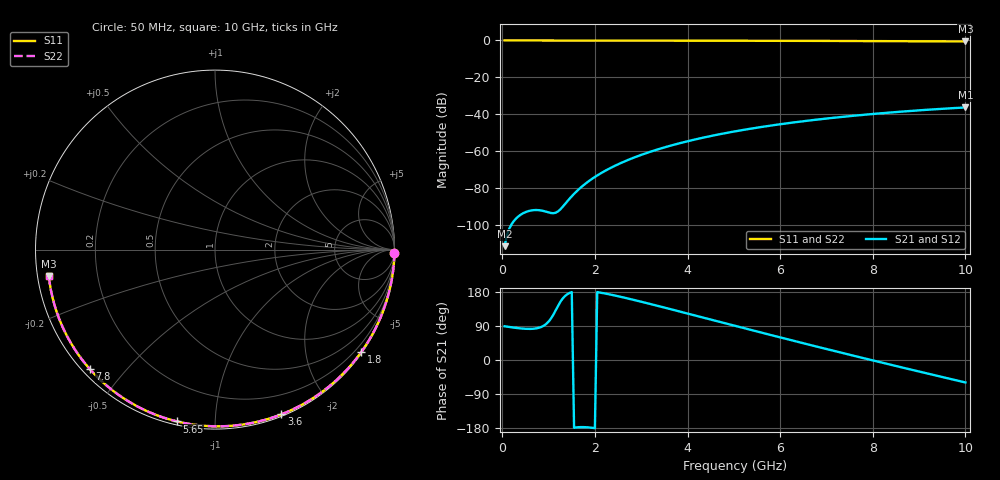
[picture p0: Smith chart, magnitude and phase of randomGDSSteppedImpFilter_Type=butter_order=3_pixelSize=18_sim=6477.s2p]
! freq	dB(S11)	phase(S11)	dB(S12)	phase(S12)
!  dB(S21)	phase(S21)	dB(S22)	phase(S22)
!S-par simulation data
#  GHz  S  DB  R 50
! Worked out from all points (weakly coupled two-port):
!   200 points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, 50 MHz to 10 GHz, reference 50 ohm
!   highest |S21| = -36.21 dB at 10 GHz (marker M1); lowest = -111.2 dB at 50 MHz (marker M2)
!   lowest |S11| = -0.6 dB at 10 GHz (marker M3), VSWR 31.02, Z = 1.62 - j3.97 ohm
!   |S11| at or under -10 dB: nowhere
!   |S22| runs from -0.6 to 0.0 dB; largest |S21 - S12| = 0
!   S11 on the Smith chart (normalised r, x): 50 MHz: open; 1.8 GHz: 0.03, -3.17; 3.6 GHz: 0.02, -1.48; 5.65 GHz: 0.02, -0.80; 7.8 GHz: 0.02, -0.40; 10 GHz: 0.03, -0.08
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0.05  -0.00 -1.0  -111.18 89.1  -111.18 89.1  -0.00 -1.0
0.45  -0.01 -8.9  -93.38 82.7  -93.38 82.7  -0.01 -8.9
0.85  -0.02 -16.8  -91.95 87.6  -91.95 87.6  -0.02 -16.8
1.65  -0.04 -32.2  -80.48 -177.2  -80.48 -177.2  -0.04 -32.2
1.7  -0.04 -33.1  -79.37 -177.0  -79.37 -177.0  -0.04 -33.1
1.75  -0.04 -34.1  -78.32 -177.0  -78.32 -177.0  -0.04 -34.1
1.8  -0.04 -35.0  -77.32 -177.2  -77.32 -177.2  -0.04 -35.0
2.1  -0.05 -40.7  -72.19 178.2  -72.19 178.2  -0.05 -40.7
2.3  -0.06 -44.5  -69.39 173.6  -69.39 173.6  -0.06 -44.5
2.5  -0.06 -48.2  -66.93 168.3  -66.93 168.3  -0.06 -48.2
2.9  -0.07 -55.5  -62.76 156.8  -62.76 156.8  -0.07 -55.5
3.4  -0.09 -64.5  -58.55 141.5  -58.55 141.5  -0.09 -64.5
3.6  -0.09 -68.0  -57.09 135.2  -57.09 135.2  -0.09 -68.0
4.3  -0.11 -80.2  -52.73 113.1  -52.73 113.1  -0.11 -80.2
5.05  -0.14 -92.8  -49.02 89.4  -49.02 89.4  -0.14 -92.8
5.65  -0.17 -102.5  -46.55 70.6  -46.55 70.6  -0.17 -102.5
6.15  -0.20 -110.5  -44.77 55.0  -44.77 55.0  -0.20 -110.5
6.7  -0.23 -119.2  -43.05 38.1  -43.05 38.1  -0.23 -119.2
7.8  -0.32 -136.2  -40.18 4.9  -40.18 4.9  -0.32 -136.2
8.35  -0.37 -144.7  -38.99 -11.4  -38.99 -11.4  -0.37 -144.7
9.2  -0.46 -158.0  -37.42 -36.2  -37.42 -36.2  -0.46 -158.0
10  -0.56 -170.9  -36.21 -59.2  -36.21 -59.2  -0.56 -170.9
